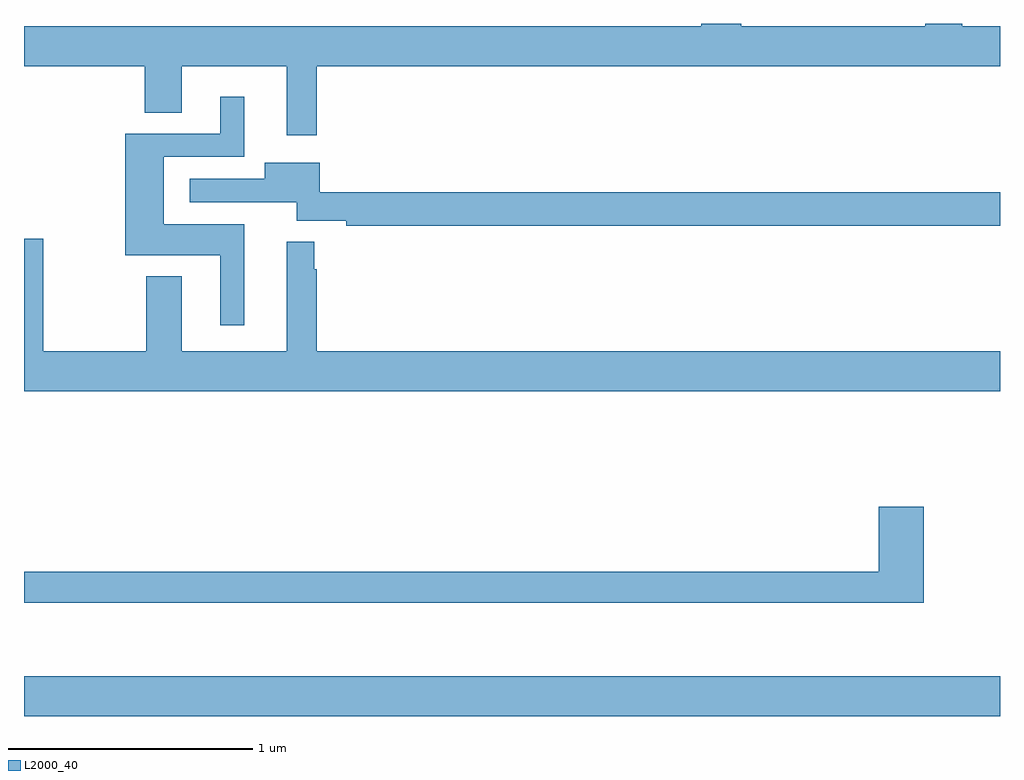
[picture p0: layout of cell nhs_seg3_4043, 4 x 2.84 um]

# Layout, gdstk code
import gdstk
lib = gdstk.Library(unit=1e-6, precision=1e-09)
def R(c, l, rs):  # rectangles x0, y0, x1, y1
    for r in rs: c.add(gdstk.rectangle(r[:2], r[2:], *l))
def P(c, l, *ps):  # polygons
    for p in ps: c.add(gdstk.Polygon(p, *l))
L2000_40 = (2000, 40)

nhs_seg3_4043 = lib.new_cell('nhs_seg3_4043')
R(nhs_seg3_4043, L2000_40, [(323,723.56,327,723.724)])
P(nhs_seg3_4043, L2000_40, [(324.199,726.224),(327,726.224),(327,726.388),(326.845,726.388),(326.845,726.4),(326.693,726.4),(326.693,726.388),(325.94,726.388),(325.94,726.4),(325.775,726.4),(325.775,726.388),(323,726.388),(323,726.224),(323.495,726.224),(323.495,726.034),(323.647,726.034),(323.647,726.224),(324.077,726.224),(324.077,725.943),(324.199,725.943)],
  [(323.902,725.578),(323.572,725.578),(323.572,725.853),(323.902,725.853),(323.902,726.1),(323.804,726.1),(323.804,725.949),(323.414,725.949),(323.414,725.45),(323.804,725.45),(323.804,725.163),(323.902,725.163)],
  [(327,725.708),(324.213,725.708),(324.213,725.83),(323.987,725.83),(323.987,725.763),(323.679,725.763),(323.679,725.667),(324.117,725.667),(324.117,725.592),(324.32,725.592),(324.32,725.572),(327,725.572)],
  [(327,725.056),(324.199,725.056),(324.199,725.393),(324.19,725.393),(324.19,725.506),(324.077,725.506),(324.077,725.056),(323.647,725.056),(323.647,725.365),(323.5,725.365),(323.5,725.056),(323.079,725.056),(323.079,725.518),(323,725.518),(323,724.892),(327,724.892)],
  [(326.687,724.42),(326.504,724.42),(326.504,724.154),(323,724.154),(323,724.026),(326.687,724.026)])

lib.write_gds('nhs_seg3_4043.gds')
